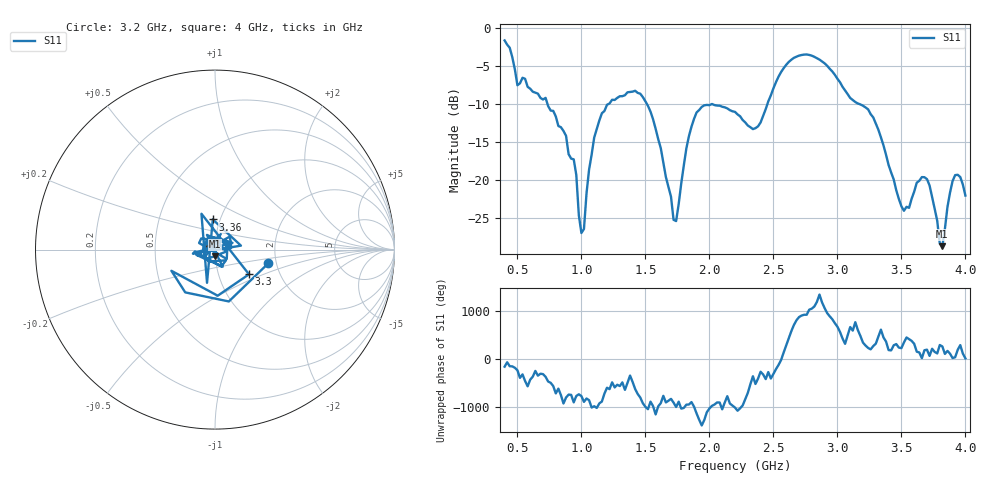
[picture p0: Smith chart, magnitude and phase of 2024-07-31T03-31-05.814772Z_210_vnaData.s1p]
!Created with skrf (http://scikit-rf.org).
# Hz S RI R 50.0
!freq ReS11 ImS11
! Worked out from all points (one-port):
!   181 points, 400 MHz to 4 GHz, reference 50 ohm
!   lowest |S11| = -28.7 dB at 3.82 GHz (marker M1), VSWR 1.08, Z = 49.6 - j3.65 ohm
!   |S11| at or under -10 dB: 734.3 MHz to 1.216 GHz (481.7 MHz wide, 49.4 % of centre); 1.511 GHz to 2.454 GHz (943.5 MHz wide, 47.6 % of centre); 3.165 GHz to end of sweep
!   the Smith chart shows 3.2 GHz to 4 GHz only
!   S11 on the Smith chart (normalised r, x): 3.2 GHz: 1.81, -0.31; 3.3 GHz: 1.40, -0.41; 3.36 GHz: 0.92, +0.32; 4 GHz: 1.16, +0.06
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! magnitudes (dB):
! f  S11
! 400 MHz  -1.7
! 500 MHz  -7.6
! 720 MHz  -9.2
! 860 MHz  -13.6
! 940 MHz  -17.3
! 1 GHz  -27.0
! 1.02 GHz  -26.4
! 1.1 GHz  -14.4
! 1.3 GHz  -9.0
! 1.52 GHz  -10.3
! 1.72 GHz  -25.2
! 1.76 GHz  -23.2
! 1.82 GHz  -15.9
! 1.9 GHz  -11.1
! 2.2 GHz  -11.1
! 2.38 GHz  -13.0
! 2.66 GHz  -4.0
! 2.86 GHz  -4.2
! 3.1 GHz  -9.2
! 3.2 GHz  -10.3
! 3.3 GHz  -12.6
! 3.36 GHz  -15.5
! 3.5 GHz  -23.5
! 3.56 GHz  -23.7
! 3.7 GHz  -19.9
! 3.82 GHz  -28.7
! 3.92 GHz  -19.4
! 4 GHz  -22.1
